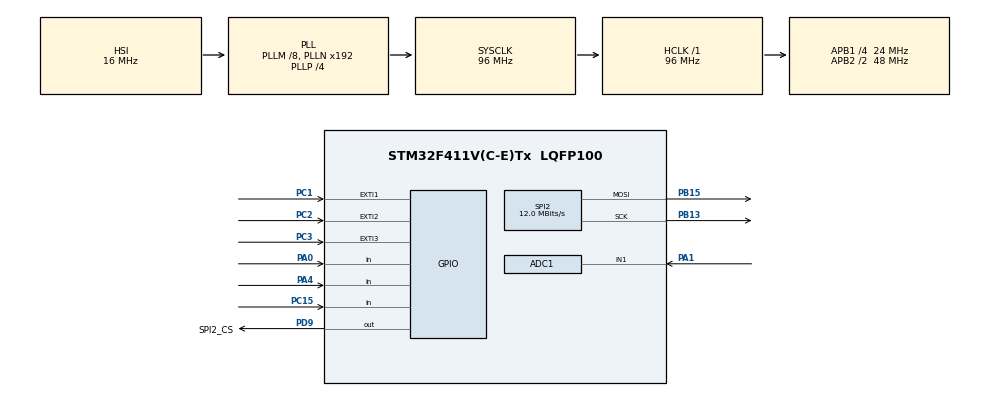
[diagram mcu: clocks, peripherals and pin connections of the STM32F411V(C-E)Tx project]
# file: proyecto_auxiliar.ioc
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ADC1.Channel-0\#ChannelRegularConversion=ADC_CHANNEL_1
ADC1.NbrOfConversionFlag=1
ADC1.Rank-0\#ChannelRegularConversion=1
ADC1.SamplingTime-0\#ChannelRegularConversion=ADC_SAMPLETIME_3CYCLES
ADC1.master=1
Mcu.Family=STM32F4
Mcu.Name=STM32F411V(C-E)Tx
Mcu.Package=LQFP100
NVIC.EXTI1_IRQn=true\:0\:0\:false\:false\:true\:true\:true\:true
NVIC.EXTI2_IRQn=true\:0\:0\:false\:false\:true\:true\:true\:true
NVIC.EXTI3_IRQn=true\:0\:0\:false\:false\:true\:true\:true\:true
NVIC.PriorityGroup=NVIC_PRIORITYGROUP_0
PA0-WKUP.Signal=GPIO_Input
PA1.Signal=ADCx_IN1
PA4.Signal=GPIO_Input
PB13.Mode=TX_Only_Simplex_Unidirect_Master
PB13.Signal=SPI2_SCK
PB15.Mode=TX_Only_Simplex_Unidirect_Master
PB15.Signal=SPI2_MOSI
PC1.GPIO_PuPd=GPIO_PULLDOWN
PC1.Signal=GPXTI1
PC15-OSC32_OUT.Signal=GPIO_Input
PC2.GPIO_PuPd=GPIO_PULLDOWN
PC2.Signal=GPXTI2
PC3.Signal=GPXTI3
PD9.GPIO_Label=SPI2_CS
PD9.Signal=GPIO_Output
PH0\ -\ OSC_IN.Mode=HSE-External-Oscillator
PH0\ -\ OSC_IN.Signal=RCC_OSC_IN
PH1\ -\ OSC_OUT.Mode=HSE-External-Oscillator
PH1\ -\ OSC_OUT.Signal=RCC_OSC_OUT
ProjectManager.HeapSize=0x200
ProjectManager.StackSize=0x400
ProjectManager.TargetToolchain=STM32CubeIDE
RCC.48MHZClocksFreq_Value=48000000
RCC.AHBFreq_Value=96000000
RCC.APB1CLKDivider=RCC_HCLK_DIV4
RCC.APB1Freq_Value=24000000
RCC.APB1TimFreq_Value=48000000
RCC.APB2CLKDivider=RCC_HCLK_DIV2
RCC.APB2Freq_Value=48000000
RCC.APB2TimFreq_Value=96000000
RCC.CortexFreq_Value=96000000
RCC.HCLKFreq_Value=96000000
RCC.HSE_VALUE=8000000
RCC.HSI_VALUE=16000000
RCC.LSE_VALUE=32768
RCC.PLLI2SM=5
RCC.PLLI2SN=200
RCC.PLLM=8
RCC.PLLP=RCC_PLLP_DIV4
RCC.PLLQ=8
RCC.SYSCLKFreq_VALUE=96000000
RCC.SYSCLKSource=RCC_SYSCLKSOURCE_PLLCLK
RCC.VCOOutputFreq_Value=384000000
SH.ADCx_IN1.0=ADC1_IN1,IN1
SPI2.CalculateBaudRate=12.0 MBits/s
SPI2.Direction=SPI_DIRECTION_2LINES
SPI2.Mode=SPI_MODE_MASTER
SPI2.VirtualType=VM_MASTER
board=STM32F411E-DISCO

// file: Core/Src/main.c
/* USER CODE BEGIN Header */
/**
  ******************************************************************************
  * @file           : main.c
  * @brief          : Main program body
  ******************************************************************************
  * @attention
  *
  * Copyright (c) 2022 STMicroelectronics.
  * All rights reserved.
  *
  * This software is licensed under terms that can be found in the LICENSE file
  * in the root directory of this software component.
  * If no LICENSE file comes with this software, it is provided AS-IS.
  *
  ******************************************************************************
  */
/* USER CODE END Header */
#include "main.h"

/* USER CODE BEGIN Includes */
#include "max7219.h"
#include "max7219_matrix.h" // control de la matriz de leds
#include "piezas.h" // librería dode están definidas las piezas en hexadecimal
#include "menu.h"
#include "stdlib.h"

/* USER CODE END Includes */

ADC_HandleTypeDef hadc1;

SPI_HandleTypeDef hspi2;

/*-----------------< TABLERO >--------------------*/

uint8_t matriz[16][8] = {
	{0, 0, 0, 0, 0, 0, 0, 0},
    {0, 0, 0, 0, 0, 0, 0, 0},
	{0, 0, 0, 0, 0, 0, 0, 0},
    {0, 0, 0, 0, 0, 0, 0, 0},
    {0, 0, 0, 0, 0, 0, 0, 0},
    {0, 0, 0, 0, 0, 0, 0, 0},
    {0, 0, 0, 0, 0, 0, 0, 0},
	{0, 0, 0, 0, 0, 0, 0, 0},
    {0, 0, 0, 0, 0, 0, 0, 0},
    {0, 0, 0, 0, 0, 0, 0, 0},
    {0, 0, 0, 0, 0, 0, 0, 0},
    {0, 0, 0, 0, 0, 0, 0, 0},
    {0, 0, 0, 0, 0, 0, 0, 0},
    {0, 0, 0, 0, 0, 0, 0, 0},
    {0, 0, 0, 0, 0, 0, 0, 0},
    {0, 0, 0, 0, 0, 0, 0, 0}
};

uint8_t number[8];
char num_binario[8][8];
int num_dec[8];

/*-----------------< PIEZAS >--------------------*/

int8_t pieceRow; // Fila de la pieza.
int8_t pieceColumn; // Columna de la pieza.
int8_t pieceRotation;
uint8_t piezaActual[4][4];

/*-----------------< BOTONERA >--------------------*/
int mover;
int boton_OK;
uint32_t previousMillis = 0;
uint32_t currentMillis = 0;

/*-----------------< POTENCIOMETRO >--------------------*/
uint32_t ADC_val_ini;
uint32_t ADC_val_fin;

/*-----------------< PARTIDA >--------------------*/
int juego;

void SystemClock_Config(void);
static void MX_GPIO_Init(void);
static void MX_ADC1_Init(void);
static void MX_SPI2_Init(void);

void ponerPieza(uint8_t pieza[4][4], int8_t row, int8_t col); //1
void eliminarPieza(uint8_t pieza[4][4], int8_t row, int8_t col);
void piezaNueva(void);
void dibujarMatriz(void);
void bajarMatriz(int8_t row);
void dropPiece(uint8_t piece[4][4]);
void moverIzq(uint8_t piece[4][4]);
void moverDcha(uint8_t piece[4][4]);
void filaCompleta(void);
_Bool posibilidadBajar(uint8_t pieza[4][4], int8_t row, int8_t col);
_Bool posibilidadIzq(uint8_t pieza[4][4], int8_t row, int8_t col);
_Bool posibilidadDcha(uint8_t pieza[4][4], int8_t row, int8_t col);
_Bool filaComp(int8_t row);
void gameOver(void);
void gameInit(void);

void ponerPieza(uint8_t pieza[4][4], int8_t row, int8_t col) // row and col means left top corner
{
	for(int8_t i = row;i < row + 4;i++)
	{
		for(int8_t j = col; j < col + 4; j++)
		{
			if (j < 9 && i < 17 && j >= 0)
			{
				 if(pieza[i - row][j - col] == true) matriz[i][j] = 1;
			}
		}
	}
}

void eliminarPieza(uint8_t pieza[4][4], int8_t row, int8_t col)
{
	for(int8_t i = row;i < row + 4;i++)
		{
			for(int8_t j = col; j < col + 4; j++)
			{
				if (j < 9 && i < 17 && j >= 0)
				{
					 if(pieza[i - row][j - col] == true) matriz[i][j] = 0;
				}
			}
		}
}

void eliminarFila(int8_t row)
{
	for(int8_t columna = 0; columna < 8 ;columna++)
		{
		  matriz[row][columna] = 0;
		}
}

void piezaNueva()
{
	pieceRow = -2;
	pieceColumn = 2;
	int numero_aleatorio = rand() % 7;

	switch(numero_aleatorio){

	case 0:
			for (int i = 0; i < 4; i++) {
				for (int j = 0; j < 4; j++) {
					piezaActual[i][j] = pieza_O[i][j];
				}
			}
			break;

	case 1:
			for (int i = 0; i < 4; i++) {
				for (int j = 0; j < 4; j++) {
					piezaActual[i][j] = pieza_T[i][j];
				}
			}
			break;

	case 2:
			for (int i = 0; i < 4; i++) {
				for (int j = 0; j < 4; j++) {
					piezaActual[i][j] = pieza_S[i][j];
				}
			}
			break;

	case 3:
			for (int i = 0; i < 4; i++) {
				for (int j = 0; j < 4; j++) {
					piezaActual[i][j] = pieza_Z[i][j];
				}
			}
			break;

	case 4:
			for (int i = 0; i < 4; i++) {
				for (int j = 0; j < 4; j++) {
					piezaActual[i][j] = pieza_I[i][j];
				}
			}
			break;

	case 5:
			for (int i = 0; i < 4; i++) {
				for (int j = 0; j < 4; j++) {
					piezaActual[i][j] = pieza_L[i][j];
				}
			}
			break;

	case 6:
			for (int i = 0; i < 4; i++) {
				for (int j = 0; j < 4; j++) {
					piezaActual[i][j] = pieza_J[i][j];
				}
			}
			break;

	}

	ponerPieza(piezaActual, pieceRow, pieceColumn);
}

// Está función sirve para traducir los valores de la matriz en hexadecimal para poder mandarlos a la mtriz de leds
void dibujarMatriz()
{
	for (uint8_t j = 0; j < 8; j++) {
			  uint8_t numero1 = 0;
	          for (uint8_t i = 0; i < 8; i++) {
	              numero1 += matriz[i][j] * pow(2, i);
	          }
	          MAX7219_MatrixSetPixel(0, j, numero1) ;
	  }

	for (int j = 0; j < 8; j++) {
		      uint8_t numero2 = 0;
	          for (uint8_t i = 0; i < 8; i++) {
	              numero2 += matriz[i + 8][j] * pow(2, i );
	          }
	          MAX7219_MatrixSetPixel(1, j , numero2) ;
	  }

	  MAX7219_MatrixUpdate();
}

void bajarMatriz(int8_t row)
{
	for (uint8_t fila = row; fila > 0; fila--) {
	     for (uint8_t columna = 0; columna < 8; columna++) {
	            matriz[fila][columna] = matriz[fila - 1][columna];
	        }
	    }

    for (uint8_t columna = 0; columna < 8; columna++) {
    	 matriz[0][columna] = 0;
	   }
}

// Función para hacer caer la pieza de Tetris.
void dropPiece(uint8_t piece[4][4]) {
	if(posibilidadBajar(piece, pieceRow, pieceColumn) == false){
		filaCompleta(); // esta función comprueba si hay alguna fila completa y la elimina
		if( pieceRow <= -2) gameOver();
		else piezaNueva();
	}

	else{
	 eliminarPieza(piece, pieceRow, pieceColumn);
	 pieceRow++;
	 ponerPieza(piece, pieceRow, pieceColumn);
	 dibujarMatriz();
	 HAL_Delay(1000);
	}
}

// Función para mover la pieza de Tetris a la IZQUIERDA
void moverIzq(uint8_t piece[4][4]) {
	 if (posibilidadIzq(piece, pieceRow, pieceColumn) == true){
	 eliminarPieza(piece, pieceRow, pieceColumn);
	 pieceColumn--;
	 ponerPieza(piece, pieceRow, pieceColumn);
	 dibujarMatriz();
	 HAL_Delay(1000);
	 }
}

// Función para mover la pieza de Tetris a la DERECHA
void moverDcha( uint8_t piece[4][4]) {
	 if (posibilidadDcha(piece, pieceRow, pieceColumn) == true){
	 eliminarPieza(piece, pieceRow, pieceColumn);
	 pieceColumn++;
	 ponerPieza(piece, pieceRow, pieceColumn);
	 dibujarMatriz();
	 HAL_Delay(1000);
	 }
}

void filaCompleta()
{
	for (int8_t fila = 0; fila < 16; fila++) {
		if(filaComp(fila) == true){
			eliminarFila(fila);
			bajarMatriz(fila);
		}
	}
}

_Bool posibilidadBajar(uint8_t pieza[4][4], int8_t row, int8_t col) //return if can change position or rotate shape
{
	for (int8_t fila = 0; fila < 4; fila++) {
	   for (int8_t columna = 0; columna < 4; columna++) {
	            if (pieza[fila][columna] == 1 && pieza[fila + 1][columna] == 0) {
	            	int8_t filaT = fila + row + 1;
	            	int8_t columnaT = columna + col;
	                if (row + 3 == 15 || matriz[filaT][columnaT] == 1) {
	                    return false;
	                }
	            }
	        }
	    }
	 return true;
}

_Bool posibilidadIzq(uint8_t pieza[4][4], int8_t row, int8_t col) //return if can change position or rotate shape
{
	for (int8_t fila = 0; fila < 4; fila++) {
	   for (int8_t columna = 0; columna < 4; columna++) {
	            if (pieza[fila][columna] == 1 && pieza[fila][columna - 1] == 0){
	            	int8_t filaT = fila + row;
	            	int8_t columnaT = columna + col - 1;
	                if (columnaT < 0 || matriz[filaT][columnaT] == 1) {
	                    return false;
	                }
	            }
	        }
	    }
	 return true;
}

_Bool posibilidadDcha(uint8_t pieza[4][4], int8_t row, int8_t col) //return if can change position or rotate shape
{
	for (int8_t fila = 0; fila < 4; fila++) {
	   for (int8_t columna = 0; columna < 4; columna++) {
	            if (pieza[fila][columna] == 1 && pieza[fila][columna + 1] == 0){
	            	int8_t filaT = fila + row;
	            	int8_t columnaT = columna + col + 1;
	                if (columnaT >= 8 || matriz[filaT][columnaT] == 1) {
	                    return false;
	                }
	            }
	        }
	    }
	 return true;
}

// comprobación de si la fila que le metes a la función está completa o no
_Bool filaComp(int8_t row)
{
   for ( int8_t columna = 0; columna < 8; columna++) {
			   if( matriz[row][columna] == 0) return false;
   }
	return true;
}

void gameOver()
{
	for (int8_t i = 0; i < 8; i++) {
		for (int8_t j = 0; j < 8; j++) {
			matriz[i][j] = sad_face1[i][j];
		}
	}

	for (int8_t i = 8; i < 16; i++) {
		for (int8_t j = 0; j < 8; j++) {
			matriz[i][j] = sad_face2[i-8][j];
		}
	}

	dibujarMatriz();

	juego = 2;
}

void gameInit()
{
	for (int8_t i = 0; i < 8; i++) {
		for (int8_t j = 0; j < 8; j++) {
			matriz[i][j] = happy_face1[i][j];
		}
	}

	for (int8_t i = 8; i < 16; i++) {
		for (int8_t j = 0; j < 8; j++) {
			matriz[i][j] = happy_face2[i-8][j];
		}
	}

	dibujarMatriz();

}

/* USER CODE BEGIN 0 */

void HAL_GPIO_EXTI_Callback(uint16_t GPIO_Pin)
{

  uint16_t pin_e = GPIO_Pin;
  currentMillis = HAL_GetTick();

  if (pin_e == GPIO_PIN_1 && (currentMillis - previousMillis > 50) )
	 {
	  	mover = 1;// dcha
	  	previousMillis = currentMillis;
	  	return;
	 }
  if (pin_e == GPIO_PIN_2 && (currentMillis - previousMillis > 50) )
	 {
		 mover = 2; // izq
		 previousMillis = currentMillis;
		 return;
	 }
}

/* USER CODE END 0 */

int main(void)
{

  /* MCU Configuration--------------------------------------------------------*/

  /* Reset of all peripherals, Initializes the Flash interface and the Systick. */
  HAL_Init();

  /* Configure the system clock */
  SystemClock_Config();

  /* Initialize all configured peripherals */
  MX_GPIO_Init();
  MX_ADC1_Init();
  MX_SPI2_Init();

  /* USER CODE BEGIN 2 */
  MAX7219_MatrixInit(&hspi2, SPI2_CS_GPIO_Port, SPI2_CS_Pin); //inicialización de los pines de la matriz
  MAX7219_MatrixUpdate();
  /* USER CODE END 2 */

  // COSAS DE INICIALIZACIÓN::
   dibujarMatriz();
   pieceRow = -2;
   pieceColumn = 2;
   boton_OK = 0;
   juego = 0;
   mover = 0;

	for (int i = 0; i < 4; i++) {
		for (int j = 0; j < 4; j++) {
			piezaActual[i][j] = pieza_O[i][j];
		}
	}

	srand(HAL_GetTick()); // para el numero random

  /* Infinite loop */
  /* USER CODE BEGIN WHILE */
  while (1)
  {
	  if (juego == 0){
		  gameInit();
		  if(HAL_GPIO_ReadPin(GPIOA, GPIO_PIN_0) == 1){
			  juego = 1;
			  for (int8_t i = 0; i < 16; i++) {
			  		eliminarFila(i);
			  }
		  }
	  }

	  while(juego==1){

		  mover = 0;

		  while(mover==0){
			  dropPiece(piezaActual);

			  if( mover== 1){
				  moverDcha(piezaActual);

			  }
			  else if (mover == 2){
				  moverIzq(piezaActual);

			  }

	  // Lectura del potenciometro
	   //HAL_Delay(10);
	 /* HAL_ADC_Start(&hadc1);
	   if (HAL_ADC_PollForConversion(&hadc1, 100)==HAL_OK)
	   {
		   ADC_val_fin = HAL_ADC_GetValue(&hadc1);
	   }
	   HAL_ADC_Stop(&hadc1);

	   if(ADC_val_fin > ADC_val_ini + 50){
		   moverDcha(piezaActual);
		   ADC_val_ini = ADC_val_fin;
	   }
	   else if (ADC_val_fin < ADC_val_ini - 50){
		   moverIzq(piezaActual);
		   ADC_val_ini = ADC_val_fin;
	   }

	 }*/

		  }
	  }
  /* USER CODE END 3 */
  }
}
void SystemClock_Config(void)
{
  RCC_OscInitTypeDef RCC_OscInitStruct = {0};
  RCC_ClkInitTypeDef RCC_ClkInitStruct = {0};

  /** Configure the main internal regulator output voltage
  */
  __HAL_RCC_PWR_CLK_ENABLE();
  __HAL_PWR_VOLTAGESCALING_CONFIG(PWR_REGULATOR_VOLTAGE_SCALE1);

  /** Initializes the RCC Oscillators according to the specified parameters
  * in the RCC_OscInitTypeDef structure.
  */
  RCC_OscInitStruct.OscillatorType = RCC_OSCILLATORTYPE_HSI;
  RCC_OscInitStruct.HSIState = RCC_HSI_ON;
  RCC_OscInitStruct.HSICalibrationValue = RCC_HSICALIBRATION_DEFAULT;
  RCC_OscInitStruct.PLL.PLLState = RCC_PLL_ON;
  RCC_OscInitStruct.PLL.PLLSource = RCC_PLLSOURCE_HSI;
  RCC_OscInitStruct.PLL.PLLM = 8;
  RCC_OscInitStruct.PLL.PLLN = 192;
  RCC_OscInitStruct.PLL.PLLP = RCC_PLLP_DIV4;
  RCC_OscInitStruct.PLL.PLLQ = 8;
  if (HAL_RCC_OscConfig(&RCC_OscInitStruct) != HAL_OK)
  {
    Error_Handler();
  }

  /** Initializes the CPU, AHB and APB buses clocks
  */
  RCC_ClkInitStruct.ClockType = RCC_CLOCKTYPE_HCLK|RCC_CLOCKTYPE_SYSCLK
                              |RCC_CLOCKTYPE_PCLK1|RCC_CLOCKTYPE_PCLK2;
  RCC_ClkInitStruct.SYSCLKSource = RCC_SYSCLKSOURCE_PLLCLK;
  RCC_ClkInitStruct.AHBCLKDivider = RCC_SYSCLK_DIV1;
  RCC_ClkInitStruct.APB1CLKDivider = RCC_HCLK_DIV4;
  RCC_ClkInitStruct.APB2CLKDivider = RCC_HCLK_DIV2;

  if (HAL_RCC_ClockConfig(&RCC_ClkInitStruct, FLASH_LATENCY_3) != HAL_OK)
  {
    Error_Handler();
  }
}

static void MX_ADC1_Init(void)
{

  ADC_ChannelConfTypeDef sConfig = {0};

  /** Configure the global features of the ADC (Clock, Resolution, Data Alignment and number of conversion)
  */
  hadc1.Instance = ADC1;
  hadc1.Init.ClockPrescaler = ADC_CLOCK_SYNC_PCLK_DIV2;
  hadc1.Init.Resolution = ADC_RESOLUTION_12B;
  hadc1.Init.ScanConvMode = DISABLE;
  hadc1.Init.ContinuousConvMode = DISABLE;
  hadc1.Init.DiscontinuousConvMode = DISABLE;
  hadc1.Init.ExternalTrigConvEdge = ADC_EXTERNALTRIGCONVEDGE_NONE;
  hadc1.Init.ExternalTrigConv = ADC_SOFTWARE_START;
  hadc1.Init.DataAlign = ADC_DATAALIGN_RIGHT;
  hadc1.Init.NbrOfConversion = 1;
  hadc1.Init.DMAContinuousRequests = DISABLE;
  hadc1.Init.EOCSelection = ADC_EOC_SINGLE_CONV;
  if (HAL_ADC_Init(&hadc1) != HAL_OK)
  {
    Error_Handler();
  }

  /** Configure for the selected ADC regular channel its corresponding rank in the sequencer and its sample time.
  */
  sConfig.Channel = ADC_CHANNEL_1;
  sConfig.Rank = 1;
  sConfig.SamplingTime = ADC_SAMPLETIME_3CYCLES;
  if (HAL_ADC_ConfigChannel(&hadc1, &sConfig) != HAL_OK)
  {
    Error_Handler();
  }

}

static void MX_SPI2_Init(void)
{

  /* SPI2 parameter configuration*/
  hspi2.Instance = SPI2;
  hspi2.Init.Mode = SPI_MODE_MASTER;
  hspi2.Init.Direction = SPI_DIRECTION_2LINES;
  hspi2.Init.DataSize = SPI_DATASIZE_8BIT;
  hspi2.Init.CLKPolarity = SPI_POLARITY_LOW;
  hspi2.Init.CLKPhase = SPI_PHASE_1EDGE;
  hspi2.Init.NSS = SPI_NSS_SOFT;
  hspi2.Init.BaudRatePrescaler = SPI_BAUDRATEPRESCALER_2;
  hspi2.Init.FirstBit = SPI_FIRSTBIT_MSB;
  hspi2.Init.TIMode = SPI_TIMODE_DISABLE;
  hspi2.Init.CRCCalculation = SPI_CRCCALCULATION_DISABLE;
  hspi2.Init.CRCPolynomial = 10;
  if (HAL_SPI_Init(&hspi2) != HAL_OK)
  {
    Error_Handler();
  }

}

static void MX_GPIO_Init(void)
{
  GPIO_InitTypeDef GPIO_InitStruct = {0};

  /* GPIO Ports Clock Enable */
  __HAL_RCC_GPIOC_CLK_ENABLE();
  __HAL_RCC_GPIOH_CLK_ENABLE();
  __HAL_RCC_GPIOA_CLK_ENABLE();
  __HAL_RCC_GPIOB_CLK_ENABLE();
  __HAL_RCC_GPIOD_CLK_ENABLE();

  /*Configure GPIO pin Output Level */
  HAL_GPIO_WritePin(SPI2_CS_GPIO_Port, SPI2_CS_Pin, GPIO_PIN_RESET);

  /*Configure GPIO pin : PC15 */
  GPIO_InitStruct.Pin = GPIO_PIN_15;
  GPIO_InitStruct.Mode = GPIO_MODE_INPUT;
  GPIO_InitStruct.Pull = GPIO_NOPULL;
  HAL_GPIO_Init(GPIOC, &GPIO_InitStruct);

  /*Configure GPIO pins : PC1 PC2 */
  GPIO_InitStruct.Pin = GPIO_PIN_1|GPIO_PIN_2;
  GPIO_InitStruct.Mode = GPIO_MODE_IT_RISING;
  GPIO_InitStruct.Pull = GPIO_PULLDOWN;
  HAL_GPIO_Init(GPIOC, &GPIO_InitStruct);

  /*Configure GPIO pin : PC3 */
  GPIO_InitStruct.Pin = GPIO_PIN_3;
  GPIO_InitStruct.Mode = GPIO_MODE_IT_RISING;
  GPIO_InitStruct.Pull = GPIO_NOPULL;
  HAL_GPIO_Init(GPIOC, &GPIO_InitStruct);

  /*Configure GPIO pins : PA0 PA4 */
  GPIO_InitStruct.Pin = GPIO_PIN_0|GPIO_PIN_4;
  GPIO_InitStruct.Mode = GPIO_MODE_INPUT;
  GPIO_InitStruct.Pull = GPIO_NOPULL;
  HAL_GPIO_Init(GPIOA, &GPIO_InitStruct);

  /*Configure GPIO pin : SPI2_CS_Pin */
  GPIO_InitStruct.Pin = SPI2_CS_Pin;
  GPIO_InitStruct.Mode = GPIO_MODE_OUTPUT_PP;
  GPIO_InitStruct.Pull = GPIO_NOPULL;
  GPIO_InitStruct.Speed = GPIO_SPEED_FREQ_LOW;
  HAL_GPIO_Init(SPI2_CS_GPIO_Port, &GPIO_InitStruct);

  /* EXTI interrupt init*/
  HAL_NVIC_SetPriority(EXTI1_IRQn, 0, 0);
  HAL_NVIC_EnableIRQ(EXTI1_IRQn);

  HAL_NVIC_SetPriority(EXTI2_IRQn, 0, 0);
  HAL_NVIC_EnableIRQ(EXTI2_IRQn);

  HAL_NVIC_SetPriority(EXTI3_IRQn, 0, 0);
  HAL_NVIC_EnableIRQ(EXTI3_IRQn);

}

void Error_Handler(void)
{
  __disable_irq();
  while (1)
  {
  }
}
